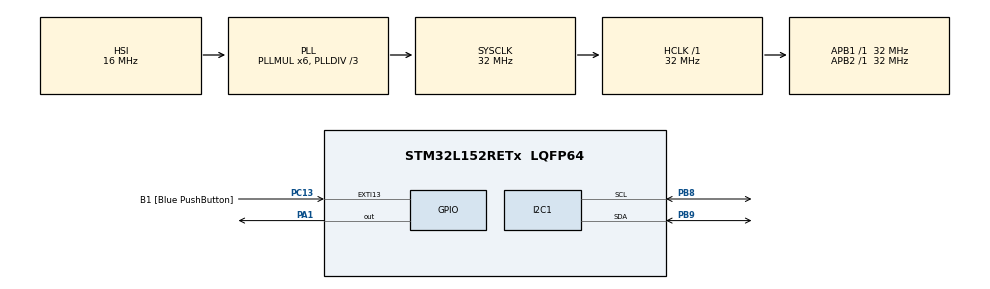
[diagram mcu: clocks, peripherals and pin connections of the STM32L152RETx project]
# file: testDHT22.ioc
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Mcu.Family=STM32L1
Mcu.Name=STM32L152RETx
Mcu.Package=LQFP64
NVIC.PriorityGroup=NVIC_PRIORITYGROUP_0
PA1.Signal=GPIO_Output
PB8.Mode=I2C
PB8.Signal=I2C1_SCL
PB9.Mode=I2C
PB9.Signal=I2C1_SDA
PC13-WKUP2.GPIO_Label=B1 [Blue PushButton]
PC13-WKUP2.Signal=GPXTI13
PH0-OSC_IN.Mode=HSE-External-Oscillator
PH0-OSC_IN.Signal=RCC_OSC_IN
PH1-OSC_OUT.Mode=HSE-External-Oscillator
PH1-OSC_OUT.Signal=RCC_OSC_OUT
ProjectManager.HeapSize=0x200
ProjectManager.StackSize=0x400
ProjectManager.TargetToolchain=TrueSTUDIO
RCC.48MHZClocksFreq_Value=48000000
RCC.AHBFreq_Value=32000000
RCC.APB1Freq_Value=32000000
RCC.APB1TimFreq_Value=32000000
RCC.APB2Freq_Value=32000000
RCC.APB2TimFreq_Value=32000000
RCC.HCLKFreq_Value=32000000
RCC.HSE_VALUE=8000000
RCC.HSI_VALUE=16000000
RCC.MSI_VALUE=2097000
RCC.PLLDIV=RCC_PLL_DIV3
RCC.PLLMUL=RCC_PLL_MUL6
RCC.RTCClockSelectionVirtual=RCC_RTCCLKSOURCE_LSE
RCC.SYSCLKFreq_VALUE=32000000
RCC.SYSCLKSource=RCC_SYSCLKSOURCE_PLLCLK
RCC.USBOutput=48000000
RCC.VCOOutputFreq_Value=96000000
VP_TIM6_VS_ClockSourceINT.Mode=Enable_Timer
board=NUCLEO-L152RE

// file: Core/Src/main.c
/* USER CODE BEGIN Header */
/**
  ******************************************************************************
  * @file           : main.c
  * @brief          : Main program body
  ******************************************************************************
  * @attention
  *
  * <h2><center>&copy; Copyright (c) 2021 STMicroelectronics.
  * All rights reserved.</center></h2>
  *
  * This software component is licensed by ST under BSD 3-Clause license,
  * the "License"; You may not use this file except in compliance with the
  * License. You may obtain a copy of the License at:
  *                        opensource.org/licenses/BSD-3-Clause
  *
  ******************************************************************************
  */
/* USER CODE END Header */
#include "main.h"

/* USER CODE BEGIN Includes */
#include "i2c-lcd.h"
#include"stdio.h"
/* USER CODE END Includes */

I2C_HandleTypeDef hi2c1;

TIM_HandleTypeDef htim6;

void SystemClock_Config(void);
static void MX_GPIO_Init(void);
static void MX_I2C1_Init(void);
static void MX_TIM6_Init(void);

/* USER CODE BEGIN 0 */

/*****************************	DELAY	***************************************/
void delay(uint16_t time)
{
	__HAL_TIM_SET_COUNTER(&htim6,0);
	while((__HAL_TIM_GET_COUNTER(&htim6))<time);

}

/*****************************	Initialisation	***************************************/

uint8_t Rh_b1, Rh_b2, Temp_b1, Temp_b2;
uint16_t SUM, RH, TEMP;

float Temperature = 0;
float Humidity = 0;

uint8_t Flag1 = 0; // Flag_presence

/*****************************	GPIO	***************************************/

void SET_PIN_IN(GPIO_TypeDef *GPIOx, uint16_t GPIO_Pin)
{
	GPIO_InitTypeDef GPIO_InitStruct = {0};
	GPIO_InitStruct.Pin = GPIO_Pin;
	GPIO_InitStruct.Mode = GPIO_MODE_INPUT;
	GPIO_InitStruct.Pull = GPIO_NOPULL; // changer à GPIO_PULLUP si on détecte pas
	HAL_GPIO_Init(GPIOx, &GPIO_InitStruct);

}

void SET_PIN_OUT( GPIO_TypeDef *GPIOx, uint16_t GPIO_Pin)
{
	GPIO_InitTypeDef GPIO_InitStruct = {0};
	GPIO_InitStruct.Pin = GPIO_Pin;
	GPIO_InitStruct.Mode = GPIO_MODE_OUTPUT_PP;
	GPIO_InitStruct.Speed = GPIO_SPEED_FREQ_LOW;
	HAL_GPIO_Init(GPIOx, &GPIO_InitStruct);

}

/*****************************	DHT_22	***************************************/

//definir pin pour dht22
#define DHT22_PORT GPIOA
#define DHT22_PIN GPIO_PIN_1

void Display_Temp (float Temp)
{
	char str[20] = {0};
	lcd_put_cur(0,0);

	sprintf(str, "Temp : %.2f ", Temp);
	lcd_send_string(str);
	lcd_send_data ('C');

}

void Display_Rh (float Rh)
{
	char str[20] = {0};
	lcd_put_cur(1,0);

	sprintf(str, "RH : %.2f ", Rh);
	lcd_send_string(str);
	lcd_send_data ('%');

}
// envoyer signal start
void DHT22_Start(void)
{
	SET_PIN_OUT(DHT22_PORT, DHT22_PIN); // set pin as output
	HAL_GPIO_WritePin (DHT22_PORT, DHT22_PIN, 0); // pull the pin low
	delay(1200); // wait >1ms

	HAL_GPIO_WritePin (DHT22_PORT, DHT22_PIN, 1); // pull the pin high
	delay(20); // wait 20us

	SET_PIN_IN(DHT22_PORT, DHT22_PIN); // set pin as input

}

uint8_t DHT22_Check_Response(void)
{
	uint8_t Response = 0;
	delay(40); // wait 40us
	if ( !(HAL_GPIO_ReadPin(DHT22_PORT, DHT22_PIN))) // if the pin is low
	{
		delay(80); // wait 80 us

		if ((HAL_GPIO_ReadPin(DHT22_PORT, DHT22_PIN))) Response = 1; // is pin is high => response ok
		else Response = -1;
	}

	while ((HAL_GPIO_ReadPin(DHT22_PORT, DHT22_PIN))); // wait for the pin to go low
	return Response;
}

//Lire les données

uint8_t DHT22_Read(void)
{
	uint8_t i,j;
	for(j=0;j<8;j++)
	{
		while (!(HAL_GPIO_ReadPin (DHT22_PORT , DHT22_PIN))); // wait for the pin to go high
		delay (40);

		if (!(HAL_GPIO_ReadPin (DHT22_PORT, DHT22_PIN))) // if pin is low
		{
			i&= ~(1<<(7-j)); //write 0
		}
		else i|= (1<<(7-j)); // if pin is high => write 1
		while ((HAL_GPIO_ReadPin(DHT22_PORT, DHT22_PIN)));
	}
	return i;
}
/* USER CODE END 0 */

int main(void)
{

  /* MCU Configuration--------------------------------------------------------*/

  /* Reset of all peripherals, Initializes the Flash interface and the Systick. */
  HAL_Init();

  /* Configure the system clock */
  SystemClock_Config();

  /* Initialize all configured peripherals */
  MX_GPIO_Init();
  MX_I2C1_Init();
  MX_TIM6_Init();
  /* USER CODE BEGIN 2 */

  HAL_TIM_Base_Start(&htim6);

  lcd_init();
  lcd_send_string(" Initialisation ... ");
  HAL_Delay(2000);
  lcd_clear();
  /* USER CODE END 2 */

  /* Infinite loop */
  while (1)
  {

    /* USER CODE BEGIN 3 */
	  Display_Temp(Temperature);
	  Display_Rh(Humidity);

	  DHT22_Start();
	  Flag1 = DHT22_Check_Response();

	  Rh_b1 = DHT22_Read ();
	  Rh_b2 = DHT22_Read ();
	  Temp_b1 = DHT22_Read ();
	  Temp_b2 = DHT22_Read ();
	  SUM = DHT22_Read ();

	  TEMP = ((Temp_b1<<8) | Temp_b2);
	  RH = ((Rh_b1<<8) | Rh_b2);

	  Temperature = (float) (TEMP/10.0);
	  Humidity = (float) (RH/10.0);

	  HAL_Delay(3000);
  }
  /* USER CODE END 3 */
}

void SystemClock_Config(void)
{
  RCC_OscInitTypeDef RCC_OscInitStruct = {0};
  RCC_ClkInitTypeDef RCC_ClkInitStruct = {0};

  /** Configure the main internal regulator output voltage
  */
  __HAL_PWR_VOLTAGESCALING_CONFIG(PWR_REGULATOR_VOLTAGE_SCALE1);
  /** Initializes the RCC Oscillators according to the specified parameters
  * in the RCC_OscInitTypeDef structure.
  */
  RCC_OscInitStruct.OscillatorType = RCC_OSCILLATORTYPE_HSI;
  RCC_OscInitStruct.HSIState = RCC_HSI_ON;
  RCC_OscInitStruct.HSICalibrationValue = RCC_HSICALIBRATION_DEFAULT;
  RCC_OscInitStruct.PLL.PLLState = RCC_PLL_ON;
  RCC_OscInitStruct.PLL.PLLSource = RCC_PLLSOURCE_HSI;
  RCC_OscInitStruct.PLL.PLLMUL = RCC_PLL_MUL6;
  RCC_OscInitStruct.PLL.PLLDIV = RCC_PLL_DIV3;
  if (HAL_RCC_OscConfig(&RCC_OscInitStruct) != HAL_OK)
  {
    Error_Handler();
  }
  /** Initializes the CPU, AHB and APB buses clocks
  */
  RCC_ClkInitStruct.ClockType = RCC_CLOCKTYPE_HCLK|RCC_CLOCKTYPE_SYSCLK
                              |RCC_CLOCKTYPE_PCLK1|RCC_CLOCKTYPE_PCLK2;
  RCC_ClkInitStruct.SYSCLKSource = RCC_SYSCLKSOURCE_PLLCLK;
  RCC_ClkInitStruct.AHBCLKDivider = RCC_SYSCLK_DIV1;
  RCC_ClkInitStruct.APB1CLKDivider = RCC_HCLK_DIV1;
  RCC_ClkInitStruct.APB2CLKDivider = RCC_HCLK_DIV1;

  if (HAL_RCC_ClockConfig(&RCC_ClkInitStruct, FLASH_LATENCY_1) != HAL_OK)
  {
    Error_Handler();
  }
}

static void MX_I2C1_Init(void)
{

  hi2c1.Instance = I2C1;
  hi2c1.Init.ClockSpeed = 100000;
  hi2c1.Init.DutyCycle = I2C_DUTYCYCLE_2;
  hi2c1.Init.OwnAddress1 = 0;
  hi2c1.Init.AddressingMode = I2C_ADDRESSINGMODE_7BIT;
  hi2c1.Init.DualAddressMode = I2C_DUALADDRESS_DISABLE;
  hi2c1.Init.OwnAddress2 = 0;
  hi2c1.Init.GeneralCallMode = I2C_GENERALCALL_DISABLE;
  hi2c1.Init.NoStretchMode = I2C_NOSTRETCH_DISABLE;
  if (HAL_I2C_Init(&hi2c1) != HAL_OK)
  {
    Error_Handler();
  }

}

static void MX_TIM6_Init(void)
{

  TIM_MasterConfigTypeDef sMasterConfig = {0};

  htim6.Instance = TIM6;
  htim6.Init.Prescaler = 0;
  htim6.Init.CounterMode = TIM_COUNTERMODE_UP;
  htim6.Init.Period = 65535;
  htim6.Init.AutoReloadPreload = TIM_AUTORELOAD_PRELOAD_DISABLE;
  if (HAL_TIM_Base_Init(&htim6) != HAL_OK)
  {
    Error_Handler();
  }
  sMasterConfig.MasterOutputTrigger = TIM_TRGO_RESET;
  sMasterConfig.MasterSlaveMode = TIM_MASTERSLAVEMODE_DISABLE;
  if (HAL_TIMEx_MasterConfigSynchronization(&htim6, &sMasterConfig) != HAL_OK)
  {
    Error_Handler();
  }

}

static void MX_GPIO_Init(void)
{
  GPIO_InitTypeDef GPIO_InitStruct = {0};

  /* GPIO Ports Clock Enable */
  __HAL_RCC_GPIOC_CLK_ENABLE();
  __HAL_RCC_GPIOH_CLK_ENABLE();
  __HAL_RCC_GPIOA_CLK_ENABLE();
  __HAL_RCC_GPIOB_CLK_ENABLE();

  /*Configure GPIO pin Output Level */
  HAL_GPIO_WritePin(GPIOA, GPIO_PIN_1, GPIO_PIN_RESET);

  /*Configure GPIO pin : B1_Pin */
  GPIO_InitStruct.Pin = B1_Pin;
  GPIO_InitStruct.Mode = GPIO_MODE_IT_RISING;
  GPIO_InitStruct.Pull = GPIO_NOPULL;
  HAL_GPIO_Init(B1_GPIO_Port, &GPIO_InitStruct);

  /*Configure GPIO pin : PA1 */
  GPIO_InitStruct.Pin = GPIO_PIN_1;
  GPIO_InitStruct.Mode = GPIO_MODE_OUTPUT_PP;
  GPIO_InitStruct.Pull = GPIO_NOPULL;
  GPIO_InitStruct.Speed = GPIO_SPEED_FREQ_LOW;
  HAL_GPIO_Init(GPIOA, &GPIO_InitStruct);

}

void Error_Handler(void)
{
  __disable_irq();
  while (1)
  {
  }
}

/************************ (C) COPYRIGHT STMicroelectronics *****END OF FILE****/
